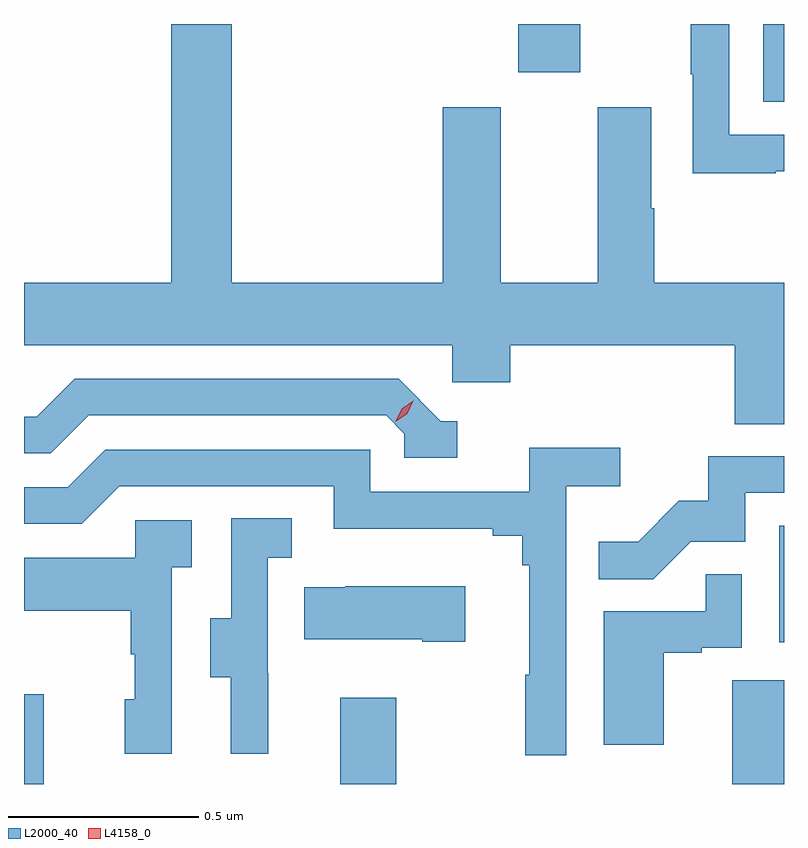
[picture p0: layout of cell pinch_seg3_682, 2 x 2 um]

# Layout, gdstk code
import gdstk
lib = gdstk.Library(unit=1e-6, precision=1e-09)
def R(c, l, rs):  # rectangles x0, y0, x1, y1
    for r in rs: c.add(gdstk.rectangle(r[:2], r[2:], *l))
def P(c, l, *ps):  # polygons
    for p in ps: c.add(gdstk.Polygon(p, *l))
L2000_40 = (2000, 40)
L4158_0 = (4158, 0)

pinch_seg3_682 = lib.new_cell('pinch_seg3_682')
R(pinch_seg3_682, L2000_40, [(1056.703,670.457,1056.755,670.693), (1057.535,670.457,1057.683,670.684), (1058.567,670.457,1058.703,670.73), (1058.69,670.83,1058.703,671.137), (1058.648,672.252,1058.703,672.457), (1058.003,672.33,1058.167,672.457)])
P(pinch_seg3_682, L2000_40, [(1058.703,671.776),(1058.361,671.776),(1058.361,671.972),(1058.353,671.972),(1058.353,672.238),(1058.213,672.238),(1058.213,671.776),(1057.957,671.776),(1057.957,672.238),(1057.805,672.238),(1057.805,671.776),(1057.25,671.776),(1057.25,672.457),(1057.09,672.457),(1057.09,671.776),(1056.703,671.776),(1056.703,671.612),(1057.83,671.612),(1057.83,671.514),(1057.982,671.514),(1057.982,671.612),(1058.573,671.612),(1058.573,671.404),(1058.703,671.404)],
  [(1058.681,672.069),(1058.703,672.069),(1058.703,672.165),(1058.559,672.165),(1058.559,672.457),(1058.458,672.457),(1058.458,672.325),(1058.463,672.325),(1058.463,672.064),(1058.681,672.064)],
  [(1057.843,671.412),(1057.8,671.412),(1057.689,671.523),(1056.836,671.523),(1056.737,671.424),(1056.703,671.424),(1056.703,671.328),(1056.774,671.328),(1056.873,671.427),(1057.656,671.427),(1057.704,671.379),(1057.704,671.316),(1057.843,671.316)],
  [(1058.13,671.24),(1058.272,671.24),(1058.272,671.342),(1058.033,671.342),(1058.033,671.226),(1057.614,671.226),(1057.614,671.337),(1056.917,671.337),(1056.818,671.238),(1056.703,671.238),(1056.703,671.142),(1056.855,671.142),(1056.954,671.241),(1057.518,671.241),(1057.518,671.129),(1057.937,671.129),(1057.937,671.11),(1058.014,671.11),(1058.014,671.033),(1058.033,671.033),(1058.033,670.745),(1058.022,670.745),(1058.022,670.533),(1058.13,670.533)],
  [(1058.457,671.094),(1058.601,671.094),(1058.601,671.223),(1058.703,671.223),(1058.703,671.319),(1058.503,671.319),(1058.503,671.202),(1058.426,671.202),(1058.319,671.095),(1058.215,671.095),(1058.215,670.996),(1058.359,670.996)],
  [(1057.346,670.749),(1057.344,670.749),(1057.344,671.053),(1057.408,671.053),(1057.408,671.156),(1057.248,671.156),(1057.248,670.893),(1057.193,670.893),(1057.193,670.738),(1057.247,670.738),(1057.247,670.536),(1057.346,670.536)],
  [(1057.092,671.027),(1057.144,671.027),(1057.144,671.151),(1056.996,671.151),(1056.996,671.053),(1056.703,671.053),(1056.703,670.913),(1056.984,670.913),(1056.984,670.799),(1056.994,670.799),(1056.994,670.68),(1056.968,670.68),(1056.968,670.536),(1057.092,670.536)],
  [(1058.386,670.803),(1058.486,670.803),(1058.486,670.815),(1058.592,670.815),(1058.592,671.009),(1058.497,671.009),(1058.497,670.911),(1058.228,670.911),(1058.228,670.56),(1058.386,670.56)],
  [(1057.864,670.978),(1057.549,670.978),(1057.549,670.975),(1057.441,670.975),(1057.441,670.838),(1057.751,670.838),(1057.751,670.831),(1057.864,670.831)])
P(pinch_seg3_682, L4158_0, [(1057.681,671.412),(1057.681,671.412),(1057.697,671.445),(1057.727,671.465),(1057.727,671.465),(1057.727,671.465),(1057.712,671.432),(1057.682,671.412)])

lib.write_gds('pinch_seg3_682.gds')
